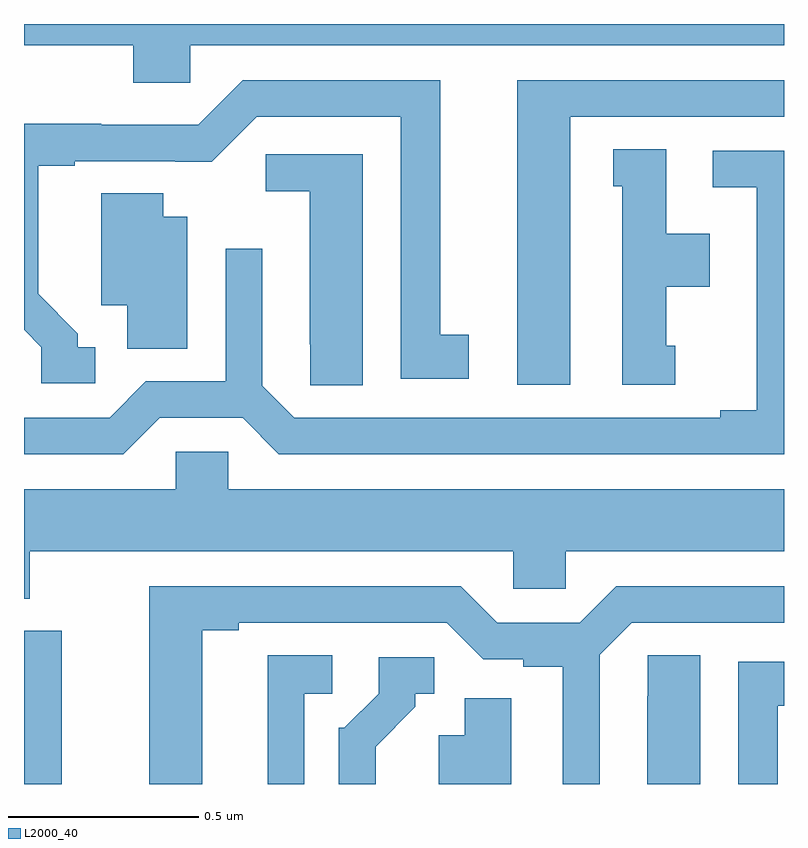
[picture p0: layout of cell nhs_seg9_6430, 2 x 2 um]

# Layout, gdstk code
import gdstk
lib = gdstk.Library(unit=1e-6, precision=1e-09)
def R(c, l, rs):  # rectangles x0, y0, x1, y1
    for r in rs: c.add(gdstk.rectangle(r[:2], r[2:], *l))
def P(c, l, *ps):  # polygons
    for p in ps: c.add(gdstk.Polygon(p, *l))
L2000_40 = (2000, 40)

nhs_seg9_6430 = lib.new_cell('nhs_seg9_6430')
R(nhs_seg9_6430, L2000_40, [(192,1170.5,192.099,1170.903)])
P(nhs_seg9_6430, L2000_40, [(192.438,1172.444),(194,1172.444),(194,1172.5),(192,1172.5),(192,1172.444),(192.287,1172.444),(192.287,1172.346),(192.438,1172.346)],
  [(193.438,1172.256),(194,1172.256),(194,1172.352),(193.298,1172.352),(193.298,1171.551),(193.438,1171.551)],
  [(192.187,1171.65),(192.142,1171.65),(192.142,1171.685),(192.037,1171.79),(192.037,1172.127),(192.133,1172.127),(192.133,1172.139),(192.398,1172.139),(192.398,1172.138),(192.494,1172.138),(192.612,1172.256),(192.992,1172.256),(192.992,1171.566),(193.171,1171.566),(193.171,1171.682),(193.096,1171.682),(193.096,1172.352),(192.576,1172.352),(192.459,1172.235),(192.203,1172.235),(192.203,1172.237),(192,1172.237),(192,1171.695),(192.045,1171.65),(192.045,1171.554),(192.187,1171.554)],
  [(193.714,1171.653),(193.69,1171.653),(193.69,1171.808),(193.804,1171.808),(193.804,1171.948),(193.69,1171.948),(193.69,1172.171),(193.55,1172.171),(193.55,1172.073),(193.574,1172.073),(193.574,1171.551),(193.714,1171.551)],
  [(192.357,1171.464),(192.575,1171.464),(192.671,1171.368),(194,1171.368),(194,1172.166),(193.812,1172.166),(193.812,1172.07),(193.928,1172.07),(193.928,1171.484),(193.832,1171.484),(193.832,1171.464),(192.711,1171.464),(192.627,1171.548),(192.627,1171.909),(192.531,1171.909),(192.531,1171.56),(192.321,1171.56),(192.225,1171.464),(192,1171.464),(192,1171.368),(192.261,1171.368)],
  [(192.892,1172.157),(192.636,1172.157),(192.636,1172.06),(192.752,1172.06),(192.752,1171.657),(192.753,1171.657),(192.753,1171.549),(192.892,1171.549)],
  [(192.43,1171.993),(192.367,1171.993),(192.367,1172.054),(192.203,1172.054),(192.203,1171.76),(192.272,1171.76),(192.272,1171.645),(192.43,1171.645)],
  [(192.015,1171.112),(193.287,1171.112),(193.287,1171.014),(193.425,1171.014),(193.425,1171.112),(194,1171.112),(194,1171.276),(192.537,1171.276),(192.537,1171.374),(192.399,1171.374),(192.399,1171.276),(192,1171.276),(192,1170.988),(192.015,1170.988)],
  [(192.469,1170.904),(192.565,1170.904),(192.565,1170.924),(193.113,1170.924),(193.209,1170.828),(193.314,1170.828),(193.314,1170.808),(193.418,1170.808),(193.418,1170.5),(193.515,1170.5),(193.515,1170.84),(193.599,1170.924),(194,1170.924),(194,1171.02),(193.559,1171.02),(193.463,1170.924),(193.245,1170.924),(193.149,1171.02),(192.329,1171.02),(192.329,1170.5),(192.469,1170.5)],
  [(193.78,1170.839),(193.641,1170.839),(193.641,1170.731),(193.64,1170.731),(193.64,1170.5),(193.78,1170.5)],
  [(192.738,1170.738),(192.811,1170.738),(192.811,1170.839),(192.641,1170.839),(192.641,1170.5),(192.738,1170.5)],
  [(192.925,1170.598),(193.03,1170.703),(193.03,1170.738),(193.08,1170.738),(193.08,1170.834),(192.933,1170.834),(192.933,1170.738),(192.843,1170.648),(192.828,1170.648),(192.828,1170.5),(192.925,1170.5)],
  [(193.984,1170.706),(194,1170.706),(194,1170.822),(193.88,1170.822),(193.88,1170.5),(193.984,1170.5)],
  [(193.282,1170.726),(193.16,1170.726),(193.16,1170.628),(193.091,1170.628),(193.091,1170.5),(193.282,1170.5)])

lib.write_gds('nhs_seg9_6430.gds')
